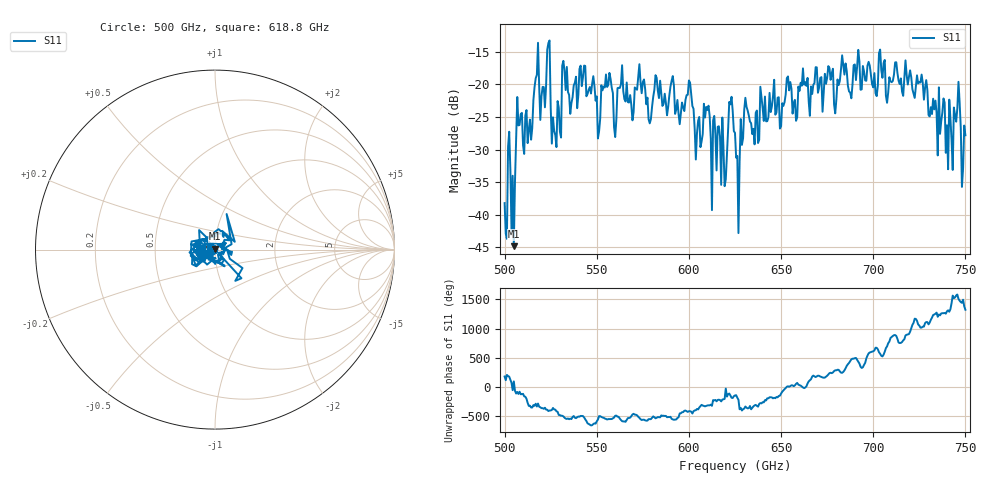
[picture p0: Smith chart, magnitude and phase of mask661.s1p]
!Created with skrf (http://scikit-rf.org).
# GHz S MA R 50.0
!freq magS11 angS11
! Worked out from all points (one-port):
!   401 points, 500 GHz to 750 GHz, reference 50 ohm
!   lowest |S11| = -44.8 dB at 505 GHz (marker M1), VSWR 1.01, Z = 50 + j0.572 ohm
!   |S11| at or under -10 dB: start of sweep to end of sweep
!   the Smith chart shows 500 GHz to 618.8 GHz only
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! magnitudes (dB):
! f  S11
! 500 GHz  -38.2
! 503.1 GHz  -33.1
! 505 GHz  -44.8
! 507.5 GHz  -26.3
! 513.8 GHz  -25.4
! 517.5 GHz  -18.5
! 520.6 GHz  -20.4
! 523.8 GHz  -13.7
! 526.9 GHz  -27.1
! 531.2 GHz  -17.1
! 542.5 GHz  -18.9
! 550.6 GHz  -28.3
! 562.5 GHz  -20.6
! 593.8 GHz  -22.4
! 600 GHz  -19.4
! 605 GHz  -25.6
! 609.4 GHz  -23.5
! 618.8 GHz  -29.9
! 622.5 GHz  -23.1
! 625 GHz  -27.5
! 626.2 GHz  -31.0
! 631.2 GHz  -23.4
! 656.2 GHz  -24.5
! 680 GHz  -22.3
! 683.8 GHz  -17.0
! 687.5 GHz  -21.3
! 718.8 GHz  -20.0
! 750 GHz  -27.8
